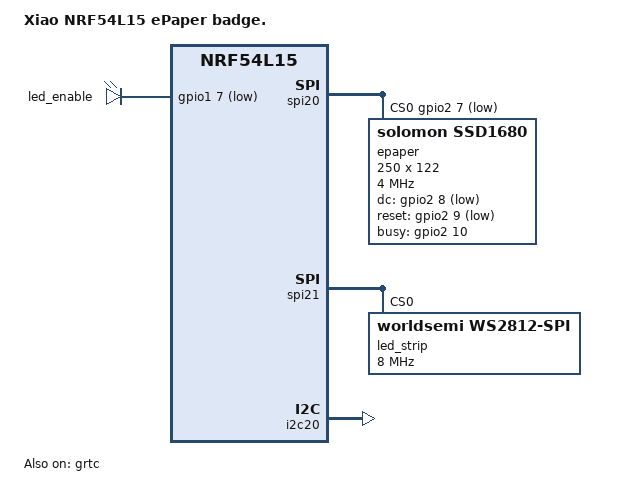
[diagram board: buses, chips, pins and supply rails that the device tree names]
/dts-v1/;

#include <nordic/nrf54l15_cpuapp.dtsi>
#include "vibamix_xiao-pinctrl.dtsi"
#include <zephyr/dt-bindings/led/led.h>

/ {
	model = "Xiao NRF54L15 ePaper badge.";
	compatible = "pants_for_birds,vibamix-xiao-cpuapp";

	chosen {
		zephyr,code-partition = &slot0_partition;
		zephyr,sram = &cpuapp_sram;
		zephyr,flash = &cpuapp_rram;
		zephyr,flash-controller = &rram_controller;
	};

	/* LED strip power enable - active low */
	leds {
		compatible = "gpio-leds";
		led_enable: led_enable {
			gpios = <&gpio1 7 GPIO_ACTIVE_LOW>;	/* P1.07 LED_ENABLE */
		};
	};

	aliases {
		led-strip = &led_strip;
		epaper    = &epaper;
	};
};

/* ePaper display on SPI20 */
&spi20 {
	compatible = "nordic,nrf-spim";
	status = "okay";
	pinctrl-0 = <&spi20_default>;
	pinctrl-1 = <&spi20_sleep>;
	pinctrl-names = "default", "sleep";
	cs-gpios = <&gpio2 7 GPIO_ACTIVE_LOW>;		/* P2.07 SCREEN_CS  */

	epaper: epaper@0 {
		compatible = "solomon,ssd1680";		/* update to match your controller */
		reg = <0>;
		spi-max-frequency = <4000000>;
		width = <250>;
		height = <122>;
		dc-gpios   = <&gpio2 8 GPIO_ACTIVE_LOW>;	/* P2.08 SCREEN_D/C  */
		reset-gpios = <&gpio2 9 GPIO_ACTIVE_LOW>;	/* P2.09 SCREEN_RES  */
		busy-gpios  = <&gpio2 10 GPIO_ACTIVE_HIGH>;	/* P2.10 SCREEN_BUSY */
	};
};

/* WS2812 LED strip on SPI21 - only MOSI (P1.06) is physically connected */
&spi21 {
	compatible = "nordic,nrf-spim";
	status = "okay";
	pinctrl-0 = <&spi21_default>;
	pinctrl-1 = <&spi21_sleep>;
	pinctrl-names = "default", "sleep";

	led_strip: ws2812@0 {
		compatible = "worldsemi,ws2812-spi";
		reg = <0>;
		spi-max-frequency = <DT_FREQ_M(8)>;
		chain-length = <1>;			/* update to your actual LED count */
		color-mapping = <LED_COLOR_ID_GREEN
				 LED_COLOR_ID_RED
				 LED_COLOR_ID_BLUE>;
		spi-one-frame  = <0x70>;
		spi-zero-frame = <0x40>;
	};
};

/* Light sensor I2C bus */
&i2c20 {
	compatible = "nordic,nrf-twim";
	status = "okay";
	pinctrl-0 = <&i2c20_default>;
	pinctrl-1 = <&i2c20_sleep>;
	pinctrl-names = "default", "sleep";
	/* add sensor child node here once you know the I2C address and compatible */
};

&grtc {
	owned-channels = <0 1 2 3 4 5 6 7 8 9 10 11>;
	/* Channels 7-11 reserved for Zero Latency IRQs, 3-4 for FLPR */
	child-owned-channels = <3 4 7 8 9 10 11>;
	status = "okay";
};

&cpuapp_sram {
	status = "okay";
};

&cpuapp_rram {
	partitions {
		compatible = "fixed-partitions";
		#address-cells = <1>;
		#size-cells = <1>;

		boot_partition: partition@0 {
			label = "mcuboot";
			reg = <0x0 DT_SIZE_K(64)>;
		};

		slot0_partition: partition@10000 {
			label = "image-0";
			reg = <0x10000 DT_SIZE_K(664)>;
		};

		slot1_partition: partition@b6000 {
			label = "image-1";
			reg = <0xb6000 DT_SIZE_K(664)>;
		};

		storage_partition: partition@15c000 {
			label = "storage";
			reg = <0x15c000 DT_SIZE_K(36)>;
		};
	};
};
